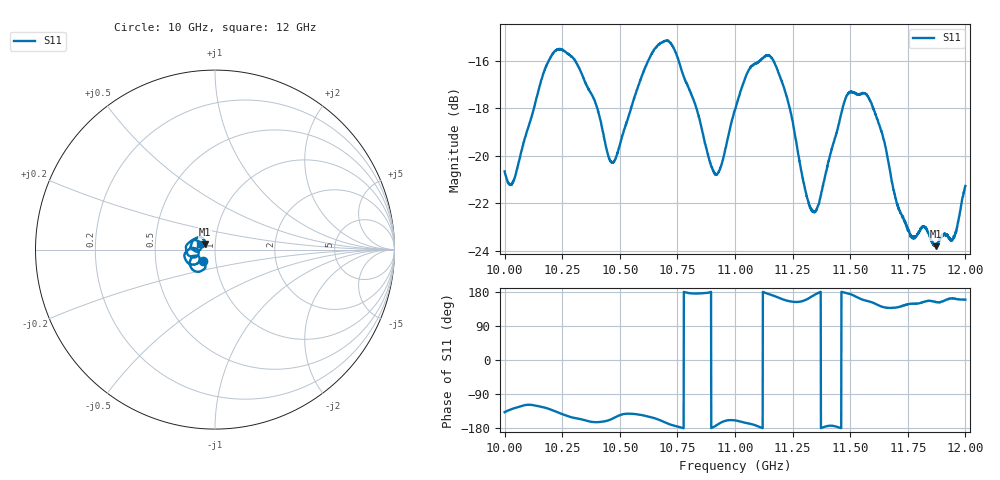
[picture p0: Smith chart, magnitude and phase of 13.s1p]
[Version] 2.0
! Rohde & Schwarz Vector Network Analyzer
! Rohde-Schwarz,ZNL20-2Port,1323001220200009,1.71.1.10-23.02.1.238
! Port Assignments:
! Nominal Port -> Actual Test Port
!  1 -> 1
! Created: GMT 2024-08-27 13:53:51
# Hz S DB R 50
[Number of Ports] 1
! freq[Hz]  S11[mag dB]  S11[ang]
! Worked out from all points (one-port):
!   2001 points, 10 GHz to 12 GHz, reference 50 ohm
!   lowest |S11| = -23.8 dB at 11.87 GHz (marker M1), VSWR 1.14, Z = 44.5 + j2.65 ohm
!   |S11| at or under -10 dB: start of sweep to end of sweep
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[Number of Frequencies] 28
[Network Data]
1e10  -20.65 -137.6
1.0038e10  -21.07 -128.0
1.0174e10  -16.37 -125.6
1.025e10  -15.54 -142.9
1.0388e10  -17.61 -163.9
1.0459e10  -20.20 -157.6
1.05e10  -19.54 -145.6
1.0646e10  -15.59 -152.7
1.0707e10  -15.17 -167.5
1.075e10  -15.84 -175.6
1.0913e10  -20.77 -174.7
1.094e10  -20.41 -164.8
1.1e10  -18.07 -159.3
1.1061e10  -16.37 -167.9
1.1145e10  -15.78 174.4
1.125e10  -18.54 153.7
1.1311e10  -21.69 160.0
1.1346e10  -22.33 172.1
1.1419e10  -19.72 -173.4
1.15e10  -17.31 174.0
1.1592e10  -17.79 152.6
1.1645e10  -19.32 139.5
1.1701e10  -21.96 138.8
1.175e10  -23.14 146.8
1.1822e10  -23.00 153.8
1.1872e10  -23.80 152.6
1.1951e10  -23.43 162.2
1.2e10  -21.27 159.2
[End]
